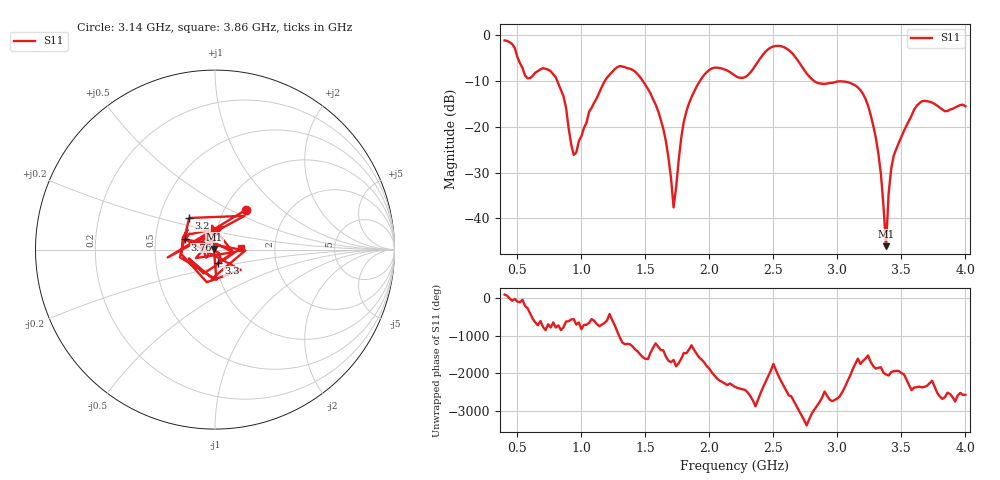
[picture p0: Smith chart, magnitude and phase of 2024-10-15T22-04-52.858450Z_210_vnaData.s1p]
! Created with skrf (http://scikit-rf.org).
# Hz S RI R 50.0
!freq ReS11 ImS11
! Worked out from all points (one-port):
!   181 points, 400 MHz to 4 GHz, reference 50 ohm
!   lowest |S11| = -46.0 dB at 3.38 GHz (marker M1), VSWR 1.01, Z = 49.7 + j0.395 ohm
!   |S11| at or under -10 dB: 810.8 MHz to 1.184 GHz (373.4 MHz wide, 37.4 % of centre); 1.479 GHz to 1.927 GHz (448.9 MHz wide, 26.4 % of centre); 2.816 GHz to end of sweep
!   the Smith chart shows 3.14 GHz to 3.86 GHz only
!   S11 on the Smith chart (normalised r, x): 3.14 GHz: 1.26, +0.61; 3.2 GHz: 0.71, +0.26; 3.3 GHz: 1.03, -0.15; 3.76 GHz: 0.71, +0.08; 3.86 GHz: 1.35, +0.03
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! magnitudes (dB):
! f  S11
! 400 MHz  -1.2
! 580 MHz  -9.5
! 740 MHz  -7.6
! 860 MHz  -13.4
! 940 MHz  -26.2
! 1.18 GHz  -10.2
! 1.3 GHz  -6.8
! 1.6 GHz  -16.6
! 1.66 GHz  -23.1
! 1.72 GHz  -37.6
! 1.76 GHz  -27.3
! 1.82 GHz  -16.7
! 1.94 GHz  -9.5
! 2.2 GHz  -8.9
! 2.5 GHz  -2.5
! 2.66 GHz  -4.4
! 2.84 GHz  -10.4
! 3.1 GHz  -10.5
! 3.14 GHz  -11.0
! 3.2 GHz  -12.9
! 3.3 GHz  -22.4
! 3.34 GHz  -30.3
! 3.38 GHz  -46.0
! 3.42 GHz  -29.2
! 3.56 GHz  -18.7
! 3.76 GHz  -15.1
! 3.86 GHz  -16.6
! 4 GHz  -15.5
